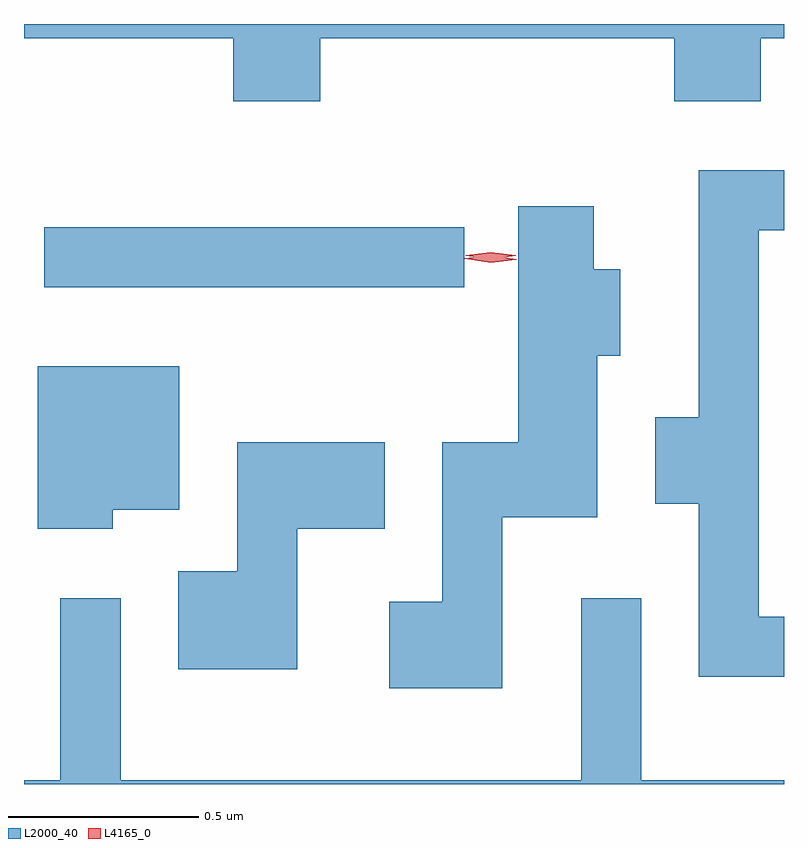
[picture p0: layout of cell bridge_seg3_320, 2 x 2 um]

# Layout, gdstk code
import gdstk
lib = gdstk.Library(unit=1e-6, precision=1e-09)
def R(c, l, rs):  # rectangles x0, y0, x1, y1
    for r in rs: c.add(gdstk.rectangle(r[:2], r[2:], *l))
def P(c, l, *ps):  # polygons
    for p in ps: c.add(gdstk.Polygon(p, *l))
L2000_40 = (2000, 40)
L4165_0 = (4165, 0)

bridge_seg3_320 = lib.new_cell('bridge_seg3_320')
R(bridge_seg3_320, L2000_40, [(585.313,1229.701,586.418,1229.859)])
P(bridge_seg3_320, L2000_40, [(586.039,1230.356),(586.971,1230.356),(586.971,1230.191),(587.199,1230.191),(587.199,1230.356),(587.26,1230.356),(587.26,1230.394),(585.26,1230.394),(585.26,1230.356),(585.811,1230.356),(585.811,1230.191),(586.039,1230.191)],
  [(587.26,1228.834),(587.194,1228.834),(587.194,1229.851),(587.26,1229.851),(587.26,1230.009),(587.036,1230.009),(587.036,1229.359),(586.921,1229.359),(586.921,1229.131),(587.036,1229.131),(587.036,1228.676),(587.26,1228.676)],
  [(586.519,1229.096),(586.769,1229.096),(586.769,1229.521),(586.829,1229.521),(586.829,1229.749),(586.759,1229.749),(586.759,1229.914),(586.561,1229.914),(586.561,1229.294),(586.361,1229.294),(586.361,1228.874),(586.221,1228.874),(586.221,1228.646),(586.519,1228.646)],
  [(585.494,1229.116),(585.669,1229.116),(585.669,1229.494),(585.296,1229.494),(585.296,1229.066),(585.494,1229.066)],
  [(585.979,1229.066),(586.209,1229.066),(586.209,1229.294),(585.821,1229.294),(585.821,1228.954),(585.666,1228.954),(585.666,1228.696),(585.979,1228.696)],
  [(587.26,1228.404),(586.884,1228.404),(586.884,1228.883),(586.726,1228.883),(586.726,1228.404),(585.514,1228.404),(585.514,1228.883),(585.356,1228.883),(585.356,1228.404),(585.26,1228.404),(585.26,1228.394),(587.26,1228.394)])
P(bridge_seg3_320, L4165_0, [(586.489,1229.775),(586.423,1229.784),(586.423,1229.784),(586.423,1229.785),(586.488,1229.794),(586.554,1229.785),(586.554,1229.785),(586.554,1229.784)],
  [(586.488,1229.766),(586.42,1229.776),(586.419,1229.777),(586.42,1229.777),(586.488,1229.785),(586.556,1229.775),(586.557,1229.774),(586.556,1229.774)])

lib.write_gds('bridge_seg3_320.gds')
